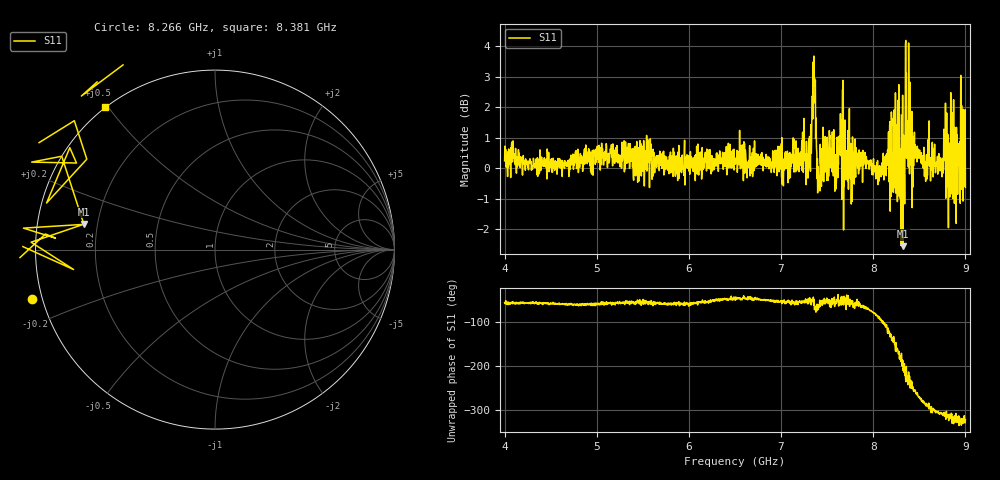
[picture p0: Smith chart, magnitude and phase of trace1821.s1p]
! Created with skrf 1.8.0 (http://scikit-rf.org).
# Hz S RI R 50.0
!freq ReS11 ImS11
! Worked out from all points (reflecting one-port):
!   1601 points, 4 GHz to 9 GHz, reference 50 ohm
!   lowest |S11| = -2.6 dB at 8.322 GHz (marker M1), VSWR 6.84, Z = 7.38 + j4.73 ohm
!   phase of S11 starts at -57 deg and turns -266 deg over the sweep
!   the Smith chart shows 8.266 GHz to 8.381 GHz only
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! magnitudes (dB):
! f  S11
! 4 GHz  0.2
! 4.625 GHz  -0.3
! 5.25 GHz  0.1
! 5.875 GHz  0.2
! 6.5 GHz  0.3
! 7.125 GHz  0.4
! 7.294 GHz  0.4
! 7.356 GHz  3.7
! 7.412 GHz  -0.4
! 7.478 GHz  1.0
! 7.6 GHz  -0.4
! 7.65 GHz  1.0
! 7.75 GHz  -0.1
! 7.891 GHz  0.3
! 8.075 GHz  0.1
! 8.266 GHz  0.5
! 8.322 GHz  -2.6
! 8.334 GHz  -0.1
! 8.347 GHz  1.2
! 8.375 GHz  1.2
! 8.425 GHz  0.2
! 8.562 GHz  -0.2
! 8.788 GHz  -1.0
! 8.812 GHz  0.4
! 8.866 GHz  -0.6
! 8.875 GHz  0.0
! 8.972 GHz  0.4
! 9 GHz  -0.6
